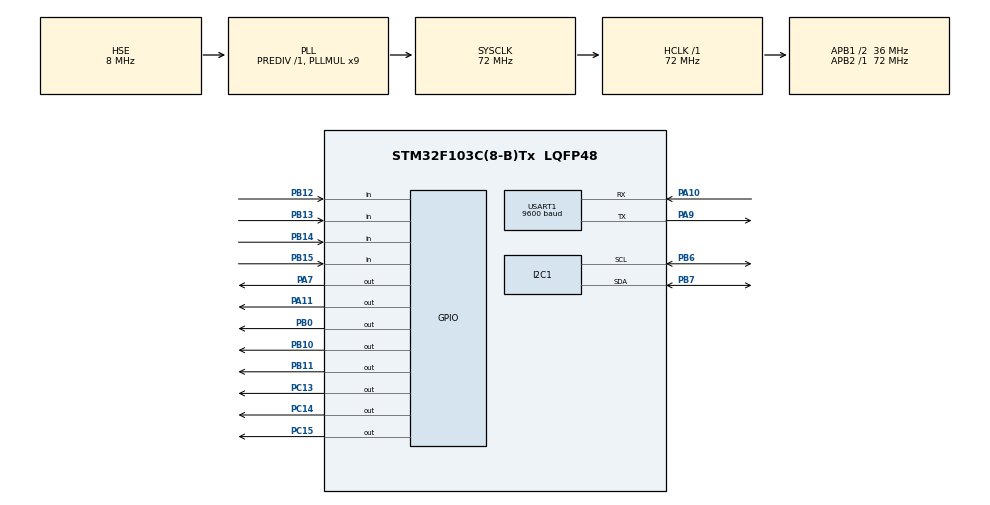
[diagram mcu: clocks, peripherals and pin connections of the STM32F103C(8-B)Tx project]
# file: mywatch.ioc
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I2C1.I2C_Mode=I2C_Fast
Mcu.Family=STM32F1
Mcu.Name=STM32F103C(8-B)Tx
Mcu.Package=LQFP48
NVIC.PriorityGroup=NVIC_PRIORITYGROUP_4
NVIC.USART1_IRQn=true\:0\:0\:false\:false\:true\:true\:true\:true
PA10.Mode=Asynchronous
PA10.Signal=USART1_RX
PA11.GPIO_ModeDefaultOutputPP=GPIO_MODE_OUTPUT_OD
PA11.GPIO_PuPd=GPIO_PULLUP
PA11.PinState=GPIO_PIN_SET
PA11.Signal=GPIO_Output
PA13.Mode=Serial_Wire
PA13.Signal=SYS_JTMS-SWDIO
PA14.Mode=Serial_Wire
PA14.Signal=SYS_JTCK-SWCLK
PA7.GPIO_ModeDefaultOutputPP=GPIO_MODE_OUTPUT_OD
PA7.GPIO_PuPd=GPIO_NOPULL
PA7.PinState=GPIO_PIN_SET
PA7.Signal=GPIO_Output
PA9.Mode=Asynchronous
PA9.Signal=USART1_TX
PB0.GPIO_ModeDefaultOutputPP=GPIO_MODE_OUTPUT_OD
PB0.GPIO_PuPd=GPIO_NOPULL
PB0.PinState=GPIO_PIN_SET
PB0.Signal=GPIO_Output
PB10.GPIO_ModeDefaultOutputPP=GPIO_MODE_OUTPUT_OD
PB10.GPIO_PuPd=GPIO_NOPULL
PB10.PinState=GPIO_PIN_SET
PB10.Signal=GPIO_Output
PB11.GPIO_ModeDefaultOutputPP=GPIO_MODE_OUTPUT_OD
PB11.GPIO_PuPd=GPIO_NOPULL
PB11.PinState=GPIO_PIN_SET
PB11.Signal=GPIO_Output
PB12.GPIO_Mode=GPIO_MODE_INPUT
PB12.GPIO_PuPd=GPIO_PULLUP
PB12.Signal=GPIO_Input
PB13.GPIO_Mode=GPIO_MODE_INPUT
PB13.GPIO_PuPd=GPIO_PULLUP
PB13.Signal=GPIO_Input
PB14.GPIO_Mode=GPIO_MODE_INPUT
PB14.GPIO_PuPd=GPIO_PULLUP
PB14.Signal=GPIO_Input
PB15.GPIO_Mode=GPIO_MODE_INPUT
PB15.GPIO_PuPd=GPIO_PULLUP
PB15.Signal=GPIO_Input
PB6.Mode=I2C
PB6.Signal=I2C1_SCL
PB7.Mode=I2C
PB7.Signal=I2C1_SDA
PC13-TAMPER-RTC.GPIO_ModeDefaultOutputPP=GPIO_MODE_OUTPUT_PP
PC13-TAMPER-RTC.GPIO_PuPd=GPIO_NOPULL
PC13-TAMPER-RTC.PinState=GPIO_PIN_RESET
PC13-TAMPER-RTC.Signal=GPIO_Output
PC14-OSC32_IN.GPIO_ModeDefaultOutputPP=GPIO_MODE_OUTPUT_PP
PC14-OSC32_IN.GPIO_PuPd=GPIO_NOPULL
PC14-OSC32_IN.PinState=GPIO_PIN_RESET
PC14-OSC32_IN.Signal=GPIO_Output
PC15-OSC32_OUT.GPIO_ModeDefaultOutputPP=GPIO_MODE_OUTPUT_PP
PC15-OSC32_OUT.GPIO_PuPd=GPIO_NOPULL
PC15-OSC32_OUT.PinState=GPIO_PIN_RESET
PC15-OSC32_OUT.Signal=GPIO_Output
PD0-OSC_IN.Mode=HSE-External-Oscillator
PD0-OSC_IN.Signal=RCC_OSC_IN
PD1-OSC_OUT.Mode=HSE-External-Oscillator
PD1-OSC_OUT.Signal=RCC_OSC_OUT
ProjectManager.HeapSize=0x200
ProjectManager.StackSize=0x400
ProjectManager.TargetToolchain=MDK-ARM V5.32
RCC.AHBFreq_Value=72000000
RCC.APB1CLKDivider=RCC_HCLK_DIV2
RCC.APB1Freq_Value=36000000
RCC.APB1TimFreq_Value=72000000
RCC.APB2Freq_Value=72000000
RCC.APB2TimFreq_Value=72000000
RCC.HCLKFreq_Value=72000000
RCC.PLLMUL=RCC_PLL_MUL9
RCC.PLLSourceVirtual=RCC_PLLSOURCE_HSE
RCC.SYSCLKFreq_VALUE=72000000
RCC.SYSCLKSource=RCC_SYSCLKSOURCE_PLLCLK
RCC.USBFreq_Value=72000000
USART1.BaudRate=9600
USART1.VirtualMode=VM_ASYNC
board=custom

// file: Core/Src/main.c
/* USER CODE BEGIN Header */
/**
  ******************************************************************************
  * @file           : main.c
  * @brief          : Main program body
  ******************************************************************************
  * @attention
  *
  * Copyright (c) 2026 STMicroelectronics.
  * All rights reserved.
  *
  * This software is licensed under terms that can be found in the LICENSE file
  * in the root directory of this software component.
  * If no LICENSE file comes with this software, it is provided AS-IS.
  *
  ******************************************************************************
  */
/* USER CODE END Header */
#include "main.h"
#include "i2c.h"
#include "usart.h"
#include "gpio.h"

/* USER CODE BEGIN Includes */
#include "bsp_delay.h"
#include "bsp_oled.h"
#include "bsp_ds1302.h"
#include "bsp_ds18b20.h"
#include "bsp_usart1.h"
#include "bsp_algorithm.h"
#include "bsp_max30102.h"
#include "bsp_iic_max.h"
#include "bsp_key.h"
#include "bsp_iic_adxl.h"
#include "bsp_flash.h"
#include "bsp_adxl345.h"
#include <stdio.h>
#include <string.h>
/* USER CODE END Includes */

/* USER CODE BEGIN PV */
unsigned char setn = 0;
unsigned char p_r = 0;
float adx, ady, adz;
float acc;
u8 flag = 0;
u16 bushu = 0;
short temperature = 0;
char display[16];

#define MAX_BRIGHTNESS 255

uint32_t aun_ir_buffer[150];
uint32_t aun_red_buffer[150];
int32_t n_ir_buffer_length;
int32_t n_spo2;
int8_t ch_spo2_valid;
int32_t n_heart_rate;
int8_t ch_hr_valid;
uint8_t uch_dummy;

int32_t hr_buf[16];
int32_t hrSum;
int32_t hrAvg;
int32_t spo2_buf[16];
int32_t spo2Sum;
int32_t spo2Avg;
int32_t spo2BuffFilled;
int32_t hrBuffFilled;
int32_t hrValidCnt = 0;
int32_t spo2ValidCnt = 0;
int32_t hrThrowOutSamp = 0;
int32_t spo2ThrowOutSamp = 0;
int32_t spo2Timeout = 0;
int32_t hrTimeout = 0;
uint32_t un_min, un_max, un_prev_data;
uint32_t un_brightness;
/* USER CODE END PV */

void SystemClock_Config(void);
/* USER CODE BEGIN PFP */
void Init_MAX30102(void);
void GetHeartRateSpO2(void);
void DisplayTime(void);
void DisplayTemperature(void);
void CHECK_NEW_MCU(void);
void GetSteps(void);
void KeySettings(void);
void UsartSendData(void);
/* USER CODE END PFP */

int main(void)
{
  char i;

  /* MCU Configuration--------------------------------------------------------*/

  /* Reset of all peripherals, Initializes the Flash interface and the Systick. */
  HAL_Init();

  /* Configure the system clock */
  SystemClock_Config();

  /* Initialize all configured peripherals */
  MX_GPIO_Init();
  MX_I2C1_Init();
  MX_USART1_UART_Init();
  /* USER CODE BEGIN 2 */
  DelayInit();
  BSP_GPIO_HighSpeed_Init();
  OLED_Init();
  KEY_Init();
  DelayMs(200);
  CHECK_NEW_MCU();
  OLED_CLS();
  DS18B20_Init();
  DS1302_Init(&SysDate);
  DelayMs(100);
  DS1302_DateRead(&SysDate);
  for (i = 0; i < 8; i++) OLED_ShowCN(i * 16, 2, i + 8, 0);
  DelayMs(1000);
  DelayMs(1000);
  OLED_CLS();
  for (i = 0; i < 2; i++) OLED_ShowCN(i * 16, 4, i + 16, 0);
  for (i = 0; i < 2; i++) OLED_ShowCN(i * 16 + 48, 4, i + 18, 0);
  for (i = 0; i < 2; i++) OLED_ShowCN(i * 16 + 95, 4, i + 20, 0);
  IIC_init();
  adxl345_init();
  Init_MAX30102();
  uart1_Init(9600);
  /* USER CODE END 2 */

  /* Infinite loop */
  while (1)
  {

    /* USER CODE BEGIN 3 */
    KeySettings();
    DisplayTime();
    if (setn == 0)
    {
        DisplayTemperature();
        GetSteps();
        GetHeartRateSpO2();
    }
    UsartSendData();
    /* USER CODE END 3 */
  }
  /* USER CODE END 3 */
}

void SystemClock_Config(void)
{
  RCC_OscInitTypeDef RCC_OscInitStruct = {0};
  RCC_ClkInitTypeDef RCC_ClkInitStruct = {0};

  /** Initializes the RCC Oscillators according to the specified parameters
  * in the RCC_OscInitTypeDef structure.
  */
  RCC_OscInitStruct.OscillatorType = RCC_OSCILLATORTYPE_HSE;
  RCC_OscInitStruct.HSEState = RCC_HSE_ON;
  RCC_OscInitStruct.HSEPredivValue = RCC_HSE_PREDIV_DIV1;
  RCC_OscInitStruct.HSIState = RCC_HSI_ON;
  RCC_OscInitStruct.PLL.PLLState = RCC_PLL_ON;
  RCC_OscInitStruct.PLL.PLLSource = RCC_PLLSOURCE_HSE;
  RCC_OscInitStruct.PLL.PLLMUL = RCC_PLL_MUL9;
  if (HAL_RCC_OscConfig(&RCC_OscInitStruct) != HAL_OK)
  {
    Error_Handler();
  }

  /** Initializes the CPU, AHB and APB buses clocks
  */
  RCC_ClkInitStruct.ClockType = RCC_CLOCKTYPE_HCLK|RCC_CLOCKTYPE_SYSCLK
                              |RCC_CLOCKTYPE_PCLK1|RCC_CLOCKTYPE_PCLK2;
  RCC_ClkInitStruct.SYSCLKSource = RCC_SYSCLKSOURCE_PLLCLK;
  RCC_ClkInitStruct.AHBCLKDivider = RCC_SYSCLK_DIV1;
  RCC_ClkInitStruct.APB1CLKDivider = RCC_HCLK_DIV2;
  RCC_ClkInitStruct.APB2CLKDivider = RCC_HCLK_DIV1;

  if (HAL_RCC_ClockConfig(&RCC_ClkInitStruct, FLASH_LATENCY_2) != HAL_OK)
  {
    Error_Handler();
  }
}

/* USER CODE BEGIN 4 */
void Init_MAX30102(void)
{
    int32_t i;

    un_brightness = 0;
    un_min = 0x3FFFF;
    un_max = 0;

    bsp_InitI2C();
    maxim_max30102_reset();
    maxim_max30102_read_reg(REG_INTR_STATUS_1, &uch_dummy);
    maxim_max30102_init();

    n_ir_buffer_length = 150;

    for (i = 0; i < n_ir_buffer_length; i++)
    {
        maxim_max30102_read_fifo((aun_ir_buffer + i), (aun_red_buffer + i));

        if (un_min > aun_red_buffer[i])
            un_min = aun_red_buffer[i];
        if (un_max < aun_red_buffer[i])
            un_max = aun_red_buffer[i];
    }
    un_prev_data = aun_red_buffer[n_ir_buffer_length - 1];
    maxim_heart_rate_and_oxygen_saturation(aun_ir_buffer, n_ir_buffer_length, aun_red_buffer, &n_spo2, &ch_spo2_valid, &n_heart_rate, &ch_hr_valid);
}

void GetHeartRateSpO2(void)
{
    int32_t i;
    float f_temp;
    static u8 COUNT = 8;
    unsigned char x = 0;

    i = 0;
    un_min = 0x3FFFF;
    un_max = 0;

    for (i = 50; i < 150; i++)
    {
        aun_red_buffer[i - 50] = aun_red_buffer[i];
        aun_ir_buffer[i - 50] = aun_ir_buffer[i];

        if (un_min > aun_red_buffer[i])
            un_min = aun_red_buffer[i];
        if (un_max < aun_red_buffer[i])
            un_max = aun_red_buffer[i];
    }

    for (i = 100; i < 150; i++)
    {
        un_prev_data = aun_red_buffer[i - 1];
        maxim_max30102_read_fifo((aun_ir_buffer + i), (aun_red_buffer + i));

        if (aun_red_buffer[i] > un_prev_data)
        {
            f_temp = aun_red_buffer[i] - un_prev_data;
            f_temp /= (un_max - un_min);
            f_temp *= MAX_BRIGHTNESS;
            f_temp = un_brightness - f_temp;
            if (f_temp < 0)
                un_brightness = 0;
            else
                un_brightness = (int)f_temp;
        }
        else
        {
            f_temp = un_prev_data - aun_red_buffer[i];
            f_temp /= (un_max - un_min);
            f_temp *= MAX_BRIGHTNESS;
            un_brightness += (int)f_temp;
            if (un_brightness > MAX_BRIGHTNESS)
                un_brightness = MAX_BRIGHTNESS;
        }
    }
    maxim_heart_rate_and_oxygen_saturation(aun_ir_buffer, n_ir_buffer_length, aun_red_buffer, &n_spo2, &ch_spo2_valid, &n_heart_rate, &ch_hr_valid);
    if (COUNT++ > 8)
    {
        COUNT = 0;
        temperature = DS18B20_Get_Temp();
        if ((ch_hr_valid == 1) && (n_heart_rate < 150) && (n_heart_rate > 60))
        {
            hrTimeout = 0;

            if (hrValidCnt == 4)
            {
                hrThrowOutSamp = 1;
                hrValidCnt = 0;
                for (i = 12; i < 16; i++)
                {
                    if (n_heart_rate < hr_buf[i] + 10)
                    {
                        hrThrowOutSamp = 0;
                        hrValidCnt = 4;
                    }
                }
            }
            else
            {
                hrValidCnt = hrValidCnt + 1;
            }

            if (hrThrowOutSamp == 0)
            {
                for (i = 0; i < 15; i++)
                {
                    hr_buf[i] = hr_buf[i + 1];
                }
                hr_buf[15] = n_heart_rate;

                if (hrBuffFilled < 16)
                {
                    hrBuffFilled = hrBuffFilled + 1;
                }

                hrSum = 0;
                if (hrBuffFilled < 2)
                {
                    hrAvg = 0;
                }
                else if (hrBuffFilled < 4)
                {
                    for (i = 14; i < 16; i++)
                    {
                        hrSum = hrSum + hr_buf[i];
                    }
                    hrAvg = hrSum >> 1;
                }
                else if (hrBuffFilled < 8)
                {
                    for (i = 12; i < 16; i++)
                    {
                        hrSum = hrSum + hr_buf[i];
                    }
                    hrAvg = hrSum >> 2;
                }
                else if (hrBuffFilled < 16)
                {
                    for (i = 8; i < 16; i++)
                    {
                        hrSum = hrSum + hr_buf[i];
                    }
                    hrAvg = hrSum >> 3;
                }
                else
                {
                    for (i = 0; i < 16; i++)
                    {
                        hrSum = hrSum + hr_buf[i];
                    }
                    hrAvg = hrSum >> 4;
                }
            }
            hrThrowOutSamp = 0;
        }
        else
        {
            hrValidCnt = 0;
            if (hrTimeout == 4)
            {
                hrAvg = 0;
                hrBuffFilled = 0;
            }
            else
            {
                hrTimeout++;
            }
        }

        if ((ch_spo2_valid == 1) && (n_spo2 > 80))
        {
            spo2Timeout = 0;

            if (spo2ValidCnt == 4)
            {
                spo2ThrowOutSamp = 1;
                spo2ValidCnt = 0;
                for (i = 12; i < 16; i++)
                {
                    if (n_spo2 > spo2_buf[i] - 10)
                    {
                        spo2ThrowOutSamp = 0;
                        spo2ValidCnt = 4;
                    }
                }
            }
            else
            {
                spo2ValidCnt = spo2ValidCnt + 1;
            }

            if (spo2ThrowOutSamp == 0)
            {
                for (i = 0; i < 15; i++)
                {
                    spo2_buf[i] = spo2_buf[i + 1];
                }
                spo2_buf[15] = n_spo2;

                if (spo2BuffFilled < 16)
                {
                    spo2BuffFilled = spo2BuffFilled + 1;
                }

                spo2Sum = 0;
                if (spo2BuffFilled < 2)
                {
                    spo2Avg = 0;
                }
                else if (spo2BuffFilled < 4)
                {
                    for (i = 14; i < 16; i++)
                    {
                        spo2Sum = spo2Sum + spo2_buf[i];
                    }
                    spo2Avg = spo2Sum >> 1;
                }
                else if (spo2BuffFilled < 8)
                {
                    for (i = 12; i < 16; i++)
                    {
                        spo2Sum = spo2Sum + spo2_buf[i];
                    }
                    spo2Avg = spo2Sum >> 2;
                }
                else if (spo2BuffFilled < 16)
                {
                    for (i = 8; i < 16; i++)
                    {
                        spo2Sum = spo2Sum + spo2_buf[i];
                    }
                    spo2Avg = spo2Sum >> 3;
                }
                else
                {
                    for (i = 0; i < 16; i++)
                    {
                        spo2Sum = spo2Sum + spo2_buf[i];
                    }
                    spo2Avg = spo2Sum >> 4;
                }
            }
            spo2ThrowOutSamp = 0;
        }
        else
        {
            spo2ValidCnt = 0;
            if (spo2Timeout == 4)
            {
                spo2Avg = 0;
                spo2BuffFilled = 0;
            }
            else
            {
                spo2Timeout++;
            }
        }

        OLED_ShowChar((x++) * 8, 6, hrAvg % 1000 / 100 + '0', 2, 0);
        OLED_ShowChar((x++) * 8, 6, hrAvg % 100 / 10 + '0', 2, 0);
        OLED_ShowChar((x++) * 8, 6, hrAvg % 10 + '0', 2, 0);
        x = 6;
        OLED_ShowChar((x++) * 8, 6, spo2Avg % 1000 / 100 + '0', 2, 0);
        OLED_ShowChar((x++) * 8, 6, spo2Avg % 100 / 10 + '0', 2, 0);
        OLED_ShowChar((x++) * 8, 6, spo2Avg % 10 + '0', 2, 0);
    }
}

void DisplayTime(void)
{
    unsigned char i = 0, x = 0;
    u16 nian_temp;

    if (setn == 0) DS1302_DateRead(&SysDate);
    nian_temp = 2000 + SysDate.year;
    if ((nian_temp % 400 == 0) || ((nian_temp % 100 != 0) && (nian_temp % 4 == 0)))
        p_r = 1;
    else
        p_r = 0;

    OLED_ShowChar((x++) * 8, 0, '2', 2, setn + 1 - 1);
    OLED_ShowChar((x++) * 8, 0, '0', 2, setn + 1 - 1);
    OLED_ShowChar((x++) * 8, 0, SysDate.year / 10 + '0', 2, setn + 1 - 1);
    OLED_ShowChar((x++) * 8, 0, SysDate.year % 10 + '0', 2, setn + 1 - 1);
    OLED_ShowChar((x++) * 8, 0, '-', 2, 0);
    OLED_ShowChar((x++) * 8, 0, SysDate.mon / 10 + '0', 2, setn + 1 - 2);
    OLED_ShowChar((x++) * 8, 0, SysDate.mon % 10 + '0', 2, setn + 1 - 2);
    OLED_ShowChar((x++) * 8, 0, '-', 2, 0);
    OLED_ShowChar((x++) * 8, 0, SysDate.day / 10 + '0', 2, setn + 1 - 3);
    OLED_ShowChar((x++) * 8, 0, SysDate.day % 10 + '0', 2, setn + 1 - 3);

    OLED_ShowCN(i * 16 + 88, 0, 0, setn + 1 - 4);
    switch (SysDate.week)
    {
    case 1:
        OLED_ShowCN(i * 16 + 104, 0, 1, setn + 1 - 4);
        break;

    case 2:
        OLED_ShowCN(i * 16 + 104, 0, 2, setn + 1 - 4);
        break;

    case 3:
        OLED_ShowCN(i * 16 + 104, 0, 3, setn + 1 - 4);
        break;

    case 4:
        OLED_ShowCN(i * 16 + 104, 0, 4, setn + 1 - 4);
        break;

    case 5:
        OLED_ShowCN(i * 16 + 104, 0, i + 5, setn + 1 - 4);
        break;

    case 6:
        OLED_ShowCN(i * 16 + 104, 0, 6, setn + 1 - 4);
        break;

    case 7:
        OLED_ShowCN(i * 16 + 104, 0, 7, setn + 1 - 4);
        break;
    }
    x = 0;
    OLED_ShowChar((x++) * 8, 2, SysDate.hour / 10 + '0', 2, setn + 1 - 5);
    OLED_ShowChar((x++) * 8, 2, SysDate.hour % 10 + '0', 2, setn + 1 - 5);
    OLED_ShowChar((x++) * 8, 2, ':', 2, 0);
    OLED_ShowChar((x++) * 8, 2, SysDate.min / 10 + '0', 2, setn + 1 - 6);
    OLED_ShowChar((x++) * 8, 2, SysDate.min % 10 + '0', 2, setn + 1 - 6);
    OLED_ShowChar((x++) * 8, 2, ':', 2, 0);
    OLED_ShowChar((x++) * 8, 2, SysDate.sec / 10 + '0', 2, setn + 1 - 7);
    OLED_ShowChar((x++) * 8, 2, SysDate.sec % 10 + '0', 2, setn + 1 - 7);
}

void DisplayTemperature(void)
{
    unsigned char x = 10;

    temperature = DS18B20_Get_Temp();
    OLED_ShowChar((x++) * 8, 2, temperature / 100 + '0', 2, 0);
    OLED_ShowChar((x++) * 8, 2, temperature % 100 / 10 + '0', 2, 0);
    OLED_ShowChar((x++) * 8, 2, '.', 2, 0);
    OLED_ShowChar((x++) * 8, 2, temperature % 10 + '0', 2, 0);
    OLED_ShowChar((x++) * 8, 2, 'C', 2, 0);
}

void CHECK_NEW_MCU(void)
{
    u8 comper_str[6];

    STMFLASH_Read(FLASH_SAVE_ADDR + 0x10, (u16*)comper_str, 5);
    comper_str[5] = '\0';
    if (strstr((char*)comper_str, "FDYDZ") == NULL)
    {
        STMFLASH_Write(FLASH_SAVE_ADDR + 0x10, (u16*)"FDYDZ", 5);
        STMFLASH_Write(FLASH_SAVE_ADDR + 0x20, &bushu, 1);
    }
    DelayMs(100);
    STMFLASH_Read(FLASH_SAVE_ADDR + 0x20, &bushu, 1);
    if (bushu > 60000 || bushu < 0) bushu = 0;
}

void GetSteps(void)
{
    static u16 temp = 0;
    u16 x = 11;

    adxl345_read_average(&adx, &ady, &adz, 10);
    acc = adx;
    if (acc > 0)
    {
        if (acc / 10 > 5 && flag == 1)
        {
            flag = 0;
            if (bushu < 60000) bushu++;
            if (temp != bushu)
            {
                temp = bushu;
                STMFLASH_Write(FLASH_SAVE_ADDR + 0x20, &bushu, 1);
            }
        }
    }
    if (acc < 0)
    {
        acc = -acc;
        if (acc / 10 >= 5)
        {
            flag = 1;
        }
    }
    if (bushu > 9999)
    {
        OLED_ShowChar((x++) * 8, 6, bushu / 10000 + '0', 2, 0);
        OLED_ShowChar((x++) * 8, 6, bushu % 10000 / 1000 + '0', 2, 0);
        OLED_ShowChar((x++) * 8, 6, bushu % 1000 / 100 + '0', 2, 0);
        OLED_ShowChar((x++) * 8, 6, bushu % 100 / 10 + '0', 2, 0);
        OLED_ShowChar((x++) * 8, 6, bushu % 10 + '0', 2, 0);
    }
    else if (bushu > 999)
    {
        OLED_ShowChar((x++) * 8, 6, ' ', 2, 0);
        OLED_ShowChar((x++) * 8, 6, bushu % 10000 / 1000 + '0', 2, 0);
        OLED_ShowChar((x++) * 8, 6, bushu % 1000 / 100 + '0', 2, 0);
        OLED_ShowChar((x++) * 8, 6, bushu % 100 / 10 + '0', 2, 0);
        OLED_ShowChar((x++) * 8, 6, bushu % 10 + '0', 2, 0);
    }
    else if (bushu > 99)
    {
        OLED_ShowChar((x++) * 8, 6, ' ', 2, 0);
        OLED_ShowChar((x++) * 8, 6, ' ', 2, 0);
        OLED_ShowChar((x++) * 8, 6, bushu % 1000 / 100 + '0', 2, 0);
        OLED_ShowChar((x++) * 8, 6, bushu % 100 / 10 + '0', 2, 0);
        OLED_ShowChar((x++) * 8, 6, bushu % 10 + '0', 2, 0);
    }
    else if (bushu > 9)
    {
        OLED_ShowChar((x++) * 8, 6, ' ', 2, 0);
        OLED_ShowChar((x++) * 8, 6, ' ', 2, 0);
        OLED_ShowChar((x++) * 8, 6, bushu % 100 / 10 + '0', 2, 0);
        OLED_ShowChar((x++) * 8, 6, bushu % 10 + '0', 2, 0);
        OLED_ShowChar((x++) * 8, 6, ' ', 2, 0);
    }
    else
    {
        OLED_ShowChar((x++) * 8, 6, ' ', 2, 0);
        OLED_ShowChar((x++) * 8, 6, ' ', 2, 0);
        OLED_ShowChar((x++) * 8, 6, bushu % 10 + '0', 2, 0);
        OLED_ShowChar((x++) * 8, 6, ' ', 2, 0);
        OLED_ShowChar((x++) * 8, 6, ' ', 2, 0);
    }
}

void KeySettings(void)
{
    unsigned char keynum = 0;

    keynum = KEY_Scan(0);
    if (keynum == 1)
    {
        setn++;
        if (setn > 7) setn = 0;
    }
    if (keynum == 2)
    {
        if (setn == 1)
        {
            SysDate.year++;
            if (SysDate.year == 100) SysDate.year = 0;
            DS1302_DateSet(&SysDate);
        }
        if (setn == 2)
        {
            SysDate.mon++;
            if (SysDate.mon == 13) SysDate.mon = 1;
            if ((SysDate.mon == 4) || (SysDate.mon == 6) || (SysDate.mon == 9) || (SysDate.mon == 11))
            {
                if (SysDate.day > 30) SysDate.day = 1;
            }
            else
            {
                if (SysDate.mon == 2)
                {
                    if (p_r == 1)
                    {
                        if (SysDate.day > 29)
                            SysDate.day = 1;
                    }
                    else
                    {
                        if (SysDate.day > 28)
                            SysDate.day = 1;
                    }
                }
            }
            DS1302_DateSet(&SysDate);
        }
        if (setn == 3)
        {
            SysDate.day++;
            if ((SysDate.mon == 1) || (SysDate.mon == 3) || (SysDate.mon == 5) || (SysDate.mon == 7) || (SysDate.mon == 8) || (SysDate.mon == 10) || (SysDate.mon == 12))
            {
                if (SysDate.day == 32)
                    SysDate.day = 1;
            }
            else
            {
                if (SysDate.mon == 2)
                {
                    if (p_r == 1)
                    {
                        if (SysDate.day == 30)
                            SysDate.day = 1;
                    }
                    else
                    {
                        if (SysDate.day == 29)
                            SysDate.day = 1;
                    }
                }
                else
                {
                    if (SysDate.day == 31)
                        SysDate.day = 1;
                }
            }
            DS1302_DateSet(&SysDate);
        }
        if (setn == 4)
        {
            SysDate.week++;
            if (SysDate.week == 8) SysDate.week = 1;
            DS1302_DateSet(&SysDate);
        }
        if (setn == 5)
        {
            SysDate.hour++;
            if (SysDate.hour == 24) SysDate.hour = 0;
            DS1302_DateSet(&SysDate);
        }
        if (setn == 6)
        {
            SysDate.min++;
            if (SysDate.min == 60) SysDate.min = 0;
            DS1302_DateSet(&SysDate);
        }
        if (setn == 7)
        {
            SysDate.sec++;
            if (SysDate.sec == 60) SysDate.sec = 0;
            DS1302_DateSet(&SysDate);
        }
    }
    if (keynum == 3)
    {
        if (setn == 1)
        {
            if (SysDate.year == 0) SysDate.year = 100;
            SysDate.year--;
            DS1302_DateSet(&SysDate);
        }
        if (setn == 2)
        {
            if (SysDate.mon == 1) SysDate.mon = 13;
            SysDate.mon--;
            if ((SysDate.mon == 4) || (SysDate.mon == 6) || (SysDate.mon == 9) || (SysDate.mon == 11))
            {
                if (SysDate.day > 30)
                    SysDate.day = 1;
            }
            else
            {
                if (SysDate.mon == 2)
                {
                    if (p_r == 1)
                    {
                        if (SysDate.day > 29)
                            SysDate.day = 1;
                    }
                    else
                    {
                        if (SysDate.day > 28)
                            SysDate.day = 1;
                    }
                }
            }
            DS1302_DateSet(&SysDate);
        }
        if (setn == 3)
        {
            SysDate.day--;
            if ((SysDate.mon == 1) || (SysDate.mon == 3) || (SysDate.mon == 5) || (SysDate.mon == 7) || (SysDate.mon == 8) || (SysDate.mon == 10) || (SysDate.mon == 12))
            {
                if (SysDate.day == 0)
                    SysDate.day = 31;
            }
            else
            {
                if (SysDate.mon == 2)
                {
                    if (p_r == 1)
                    {
                        if (SysDate.day == 0)
                            SysDate.day = 29;
                    }
                    else
                    {
                        if (SysDate.day == 0)
                            SysDate.day = 28;
                    }
                }
                else
                {
                    if (SysDate.day == 0)
                        SysDate.day = 30;
                }
            }
            DS1302_DateSet(&SysDate);
        }
        if (setn == 4)
        {
            if (SysDate.week == 1) SysDate.week = 8;
            SysDate.week--;
            DS1302_DateSet(&SysDate);
        }
        if (setn == 5)
        {
            if (SysDate.hour == 0) SysDate.hour = 24;
            SysDate.hour--;
            DS1302_DateSet(&SysDate);
        }
        if (setn == 6)
        {
            if (SysDate.min == 0) SysDate.min = 60;
            SysDate.min--;
            DS1302_DateSet(&SysDate);
        }
        if (setn == 7)
        {
            if (SysDate.sec == 0) SysDate.sec = 60;
            SysDate.sec--;
            DS1302_DateSet(&SysDate);
        }
    }
    if (keynum == 4)
    {
        bushu = 0;
        STMFLASH_Write(FLASH_SAVE_ADDR + 0x20, &bushu, 1);
        DelayMs(50);
    }
}

void UsartSendData(void)
{
    static u8 flag1 = 0, flag2 = 1;
    float temp = 0.0;

    if (flag1 != SysDate.sec)
    {
        flag1 = SysDate.sec;
        flag2 = !flag2;
        if (flag2 == 1)
        {
            temp = (float)temperature / 10;
            printf("温度:%4.1fC  \r\n", temp);
            DelayMs(10);
            printf("心率:%d  \r\n", hrAvg);
            DelayMs(10);
            printf("血氧:%d  \r\n", spo2Avg);
            DelayMs(10);
            printf("步数:%d     \r\n", bushu);
            DelayMs(10);
            printf("\r\n");
        }
    }
}

/* USER CODE END 4 */

void Error_Handler(void)
{
  __disable_irq();
  while (1)
  {
  }
}
